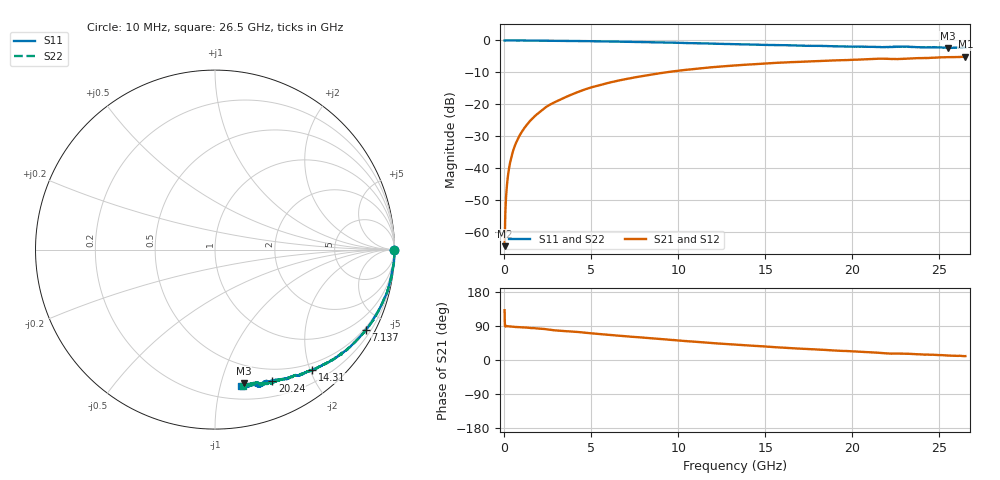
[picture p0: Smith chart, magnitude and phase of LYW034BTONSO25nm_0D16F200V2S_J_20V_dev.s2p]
!Keysight Technologies,N5222B,MY61253708,A.15.00.15
!Date: Wednesday, June 19, 2024 08:48:00
!Correction: S11(C  2-Port  )
!S21(C  2-Port  )
!S12(C  2-Port  )
!S22(C  2-Port  )
!S2P File: Measurements: S11, S21, S12, S22:
# Hz S  RI  R 50
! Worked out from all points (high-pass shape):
!   2651 points, 10 MHz to 26.5 GHz, reference 50 ohm
!   highest |S21| = -5.08 dB at 26.5 GHz (marker M1); lowest = -64.4 dB at 10 MHz (marker M2)
!   |S21| within 3 dB of the highest: 12.68 GHz to end of sweep
!   lowest |S11| = -2.4 dB at 25.5 GHz (marker M3), VSWR 7.41, Z = 16.6 - j59.2 ohm
!   |S11| at or under -10 dB: nowhere
!   |S22| runs from -2.3 to 0.0 dB; largest |S21 - S12| = 0.0077
!   S11 on the Smith chart (normalised r, x): 10 MHz: open; 7.137 GHz: 0.42, -3.96; 14.31 GHz: 0.39, -2.03; 20.24 GHz: 0.36, -1.47; 26.5 GHz: 0.31, -1.16
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1e7  0.9985 -0.00252  -0.000396 0.000451  0.000297 0.000275  0.9985 -0.00104
7.997358e7  0.9998 -0.00594  -2e-05 0.00304  1.15e-05 0.00302  0.9994 -0.00557
1.599434e8  0.9998 -0.0123  8.34e-05 0.00601  7.36e-05 0.00605  0.9995 -0.0115
2.099245e8  0.9996 -0.0155  0.000157 0.00789  0.000152 0.00792  0.9994 -0.0148
2.699019e8  0.9995 -0.0199  0.000255 0.0101  0.000229 0.0102  0.9997 -0.0191
3.698642e8  0.9994 -0.0275  0.000399 0.0139  0.000418 0.0139  0.9992 -0.0266
4.998151e8  0.9986 -0.0365  0.00069 0.0187  0.00072 0.0188  0.999 -0.0353
6.597547e8  0.9979 -0.0476  0.00124 0.0246  0.00123 0.0248  0.9981 -0.0464
8.596792e8  0.9974 -0.0619  0.00203 0.032  0.00204 0.0321  0.9971 -0.0614
1.469449e9  0.9888 -0.1067  0.00506 0.0547  0.00508 0.0549  0.9916 -0.1024
2.339121e9  0.9778 -0.1637  0.0131 0.0874  0.0133 0.0879  0.9792 -0.1638
3.198796e9  0.9639 -0.2218  0.0264 0.1157  0.0265 0.1163  0.9638 -0.2209
4.428332e9  0.9315 -0.2991  0.0478 0.1567  0.0481 0.1575  0.9334 -0.296
7.137309e9  0.8402 -0.4474  0.1187 0.2235  0.1199 0.2242  0.8428 -0.4456
8.846664e9  0.7719 -0.5226  0.171 0.2517  0.1724 0.2524  0.774 -0.5205
1.3255e10  0.5832 -0.6514  0.3083 0.2645  0.3105 0.2644  0.5874 -0.6499
1.43146e10  0.541 -0.6718  0.3362 0.2574  0.338 0.2577  0.5455 -0.6684
1.767333e10  0.4066 -0.7156  0.4143 0.2238  0.4177 0.2224  0.4189 -0.7139
2.024236e10  0.3202 -0.7328  0.463 0.1897  0.4656 0.1882  0.3362 -0.7326
2.209166e10  0.2754 -0.7363  0.4916 0.1525  0.4931 0.1503  0.2707 -0.7438
2.550038e10  0.1611 -0.745  0.5354 0.1103  0.5368 0.1113  0.1821 -0.7516
2.65e10  0.1436 -0.7596  0.5485 0.0992  0.5475 0.096  0.1562 -0.7604
